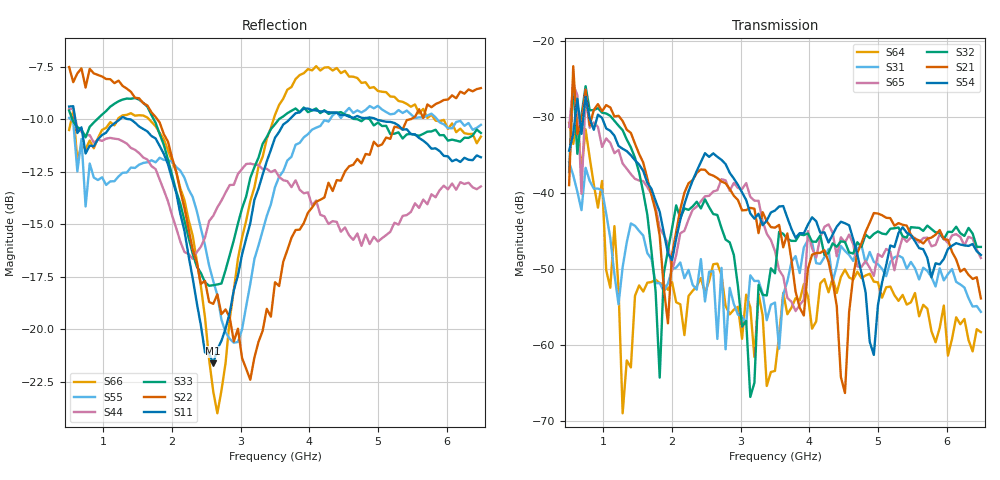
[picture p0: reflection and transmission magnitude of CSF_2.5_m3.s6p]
!Keysight Technologies,M9804A,MY58100912,A.14.10.03
!Date: Thursday, April 27, 2023 10:28:33
!Correction: S11(C  6-Port  )
!S12(C  6-Port  )
!S13(C  6-Port  )
!S14(C  6-Port  )
!S15(C  6-Port  )
!S16(C  6-Port  )
!S21(C  6-Port  )
!S22(C  6-Port  )
!S23(C  6-Port  )
!S24(C  6-Port  )
!S25(C  6-Port  )
!S26(C  6-Port  )
!S31(C  6-Port  )
!S32(C  6-Port  )
!S33(C  6-Port  )
!S34(C  6-Port  )
!S35(C  6-Port  )
!S36(C  6-Port  )
!S41(C  6-Port  )
!S42(C  6-Port  )
!S43(C  6-Port  )
!S44(C  6-Port  )
!S45(C  6-Port  )
!S46(C  6-Port  )
!S51(C  6-Port  )
!S52(C  6-Port  )
!S53(C  6-Port  )
!S54(C  6-Port  )
!S55(C  6-Port  )
!S56(C  6-Port  )
!S61(C  6-Port  )
!S62(C  6-Port  )
!S63(C  6-Port  )
!S64(C  6-Port  )
!S65(C  6-Port  )
!S66(C  6-Port  )
!S6P File: Measurement: :
# Hz S  RI  R 50
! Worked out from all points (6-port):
!   101 points, 500 MHz to 6.5 GHz, reference 50 ohm
!   strongest paths, dB at 500 MHz, 2 GHz, 3.5 GHz, 5 GHz, 6.5 GHz:
!     S54: -34.4, -48.8, -42.3, -54.7, -48.1
!     S21: -38.9, -48.0, -44.5, -42.7, -53.8
!     S32: -37.2, -44.6, -50.5, -45.0, -47.0
!     S65: -31.3, -50.2, -47.6, -48.0, -48.5
!     S31: -35.9, -50.0, -54.4, -49.3, -55.6
!     S64: -30.7, -51.7, -63.4, -51.7, -58.2
!   lowest |S11| = -21.6 dB at 2.6 GHz (marker M1), VSWR 1.18, Z = 42.6 + j2.02 ohm
!   |S11| at or under -10 dB: 588.9 MHz to 1.242 GHz (653.1 MHz wide, 71.3 % of centre); 1.362 GHz to 3.715 GHz (2.353 GHz wide, 92.7 % of centre); 4.97 GHz to end of sweep
